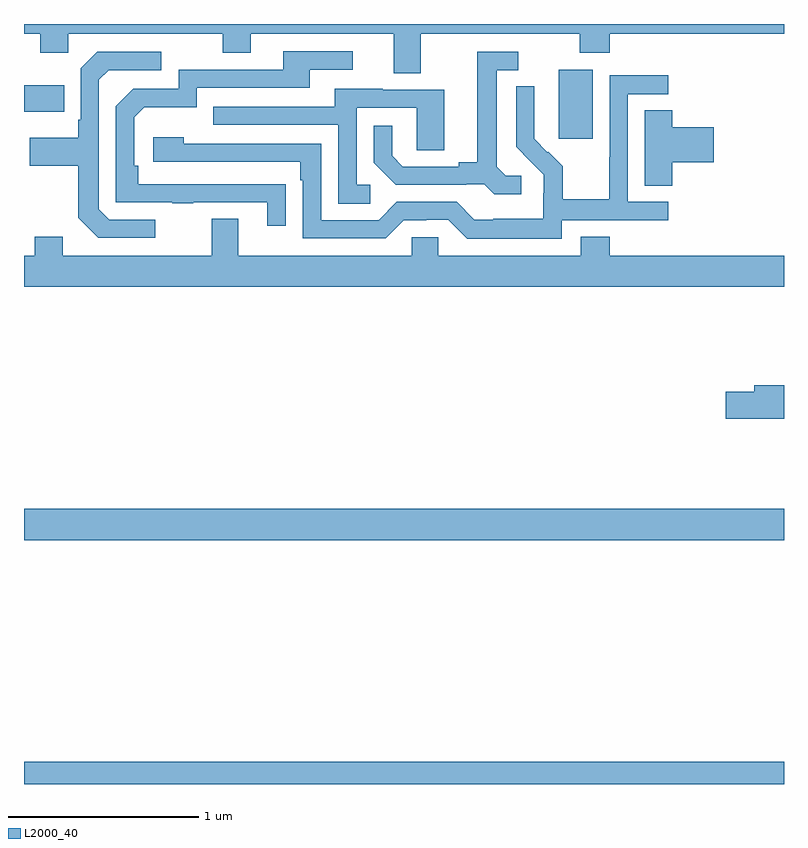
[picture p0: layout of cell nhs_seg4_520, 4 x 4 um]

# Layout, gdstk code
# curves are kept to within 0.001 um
import gdstk
lib = gdstk.Library(unit=1e-6, precision=1e-09)
def R(c, l, rs):  # rectangles x0, y0, x1, y1
    for r in rs: c.add(gdstk.rectangle(r[:2], r[2:], *l))
def P(c, l, *ps):  # polygons
    for p in ps: c.add(gdstk.Polygon(p, *l))
L2000_40 = (2000, 40)

nhs_seg4_520 = lib.new_cell('nhs_seg4_520')
R(nhs_seg4_520, L2000_40, [(137,764.9,141,765.016), (137,766.184,141,766.348), (139.814,768.297,139.993,768.658), (137,768.437,137.213,768.577)])
P(nhs_seg4_520, L2000_40, [(139.087,768.848),(139.924,768.848),(139.924,768.749),(140.084,768.749),(140.084,768.848),(141,768.848),(141,768.9),(137,768.9),(137,768.848),(137.086,768.848),(137.086,768.749),(137.232,768.749),(137.232,768.848),(138.046,768.848),(138.046,768.749),(138.193,768.749),(138.193,768.848),(138.947,768.848),(138.947,768.64),(139.087,768.64)],
  [(138.377,768.056),(137.6,768.057),(137.6,768.154),(137.58,768.154),(137.58,768.408),(137.633,768.461),(137.91,768.461),(137.91,768.564),(138.505,768.564),(138.505,768.66),(138.73,768.66),(138.73,768.756),(138.365,768.756),(138.365,768.66),(137.814,768.66),(137.814,768.558),(137.574,768.558),(137.484,768.468),(137.484,767.961),(137.779,767.961),(137.779,767.956),(137.891,767.956),(137.891,767.961),(138.281,767.961),(138.281,767.838),(138.377,767.838)],
  [(137.692,767.871),(137.448,767.871),(137.394,767.925),(137.394,768.606),(137.445,768.657),(137.722,768.657),(137.722,768.753),(137.385,768.753),(137.298,768.666),(137.298,768.397),(137.286,768.397),(137.286,768.301),(137.029,768.301),(137.029,768.154),(137.286,768.154),(137.286,767.881),(137.391,767.775),(137.692,767.775)],
  [(139.618,768.102),(139.536,768.102),(139.489,768.149),(139.489,768.657),(139.6,768.657),(139.6,768.753),(139.385,768.753),(139.385,768.173),(139.289,768.173),(139.289,768.15),(138.994,768.15),(138.937,768.207),(138.937,768.364),(138.84,768.364),(138.84,768.17),(138.956,768.054),(139.328,768.054),(139.328,768.057),(139.422,768.057),(139.474,768.005),(139.618,768.005)],
  [(139.83,767.868),(140.392,767.868),(140.392,767.964),(140.178,767.964),(140.178,768.531),(140.392,768.531),(140.392,768.63),(140.082,768.63),(140.082,768.2),(140.08,768.2),(140.08,767.977),(139.835,767.977),(139.835,768.151),(139.758,768.228),(139.755,768.225),(139.685,768.296),(139.686,768.572),(139.59,768.572),(139.59,768.254),(139.736,768.106),(139.736,768.009),(139.734,768.009),(139.734,767.875),(139.471,767.875),(139.471,767.871),(139.371,767.871),(139.278,767.964),(138.963,767.964),(138.867,767.868),(138.564,767.868),(138.564,768.27),(137.84,768.27),(137.84,768.304),(137.679,768.304),(137.679,768.174),(138.455,768.174),(138.455,768.077),(138.468,768.077),(138.468,767.772),(138.903,767.772),(138.999,767.868),(139.118,767.868),(139.118,767.871),(139.233,767.871),(139.333,767.771),(139.83,767.771)],
  [(138.823,768.054),(138.75,768.054),(138.75,768.459),(139.068,768.459),(139.068,768.235),(139.213,768.235),(139.213,768.555),(138.889,768.555),(138.889,768.559),(138.635,768.559),(138.635,768.465),(137.995,768.465),(137.995,768.369),(138.654,768.369),(138.654,767.953),(138.823,767.953)],
  [(140.411,768.173),(140.629,768.173),(140.629,768.356),(140.411,768.356),(140.411,768.446),(140.267,768.446),(140.267,768.049),(140.411,768.049)],
  [(141,767.68),(140.084,767.68),(140.084,767.779),(139.931,767.779),(139.931,767.68),(139.179,767.68),(139.179,767.778),(139.041,767.778),(139.041,767.68),(138.127,767.68),(138.127,767.875),(137.987,767.875),(137.987,767.68),(137.203,767.68),(137.203,767.779),(137.056,767.779),(137.056,767.68),(137,767.68),(137,767.516),(141,767.516)],
  [(141,767),(140.843,767),(140.843,766.964),(140.694,766.964),(140.694,766.822),(141,766.822)])

lib.write_gds('nhs_seg4_520.gds')
